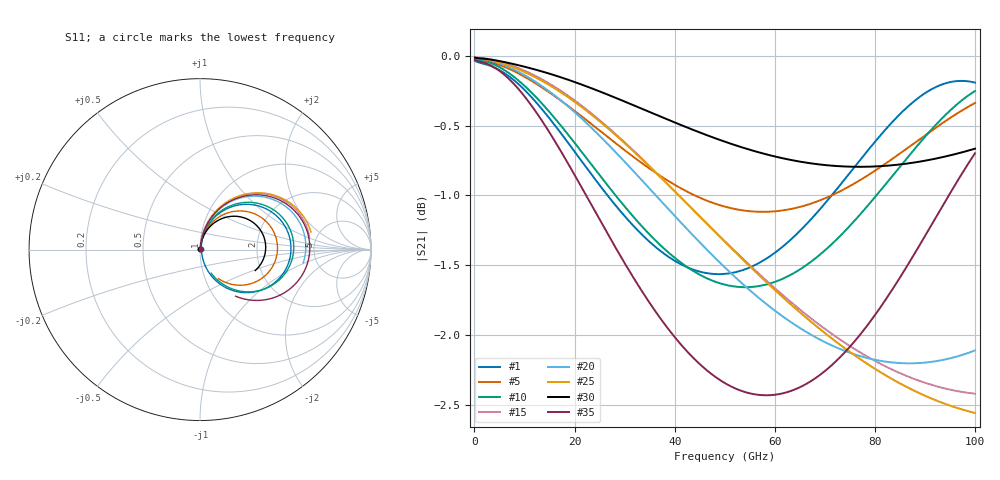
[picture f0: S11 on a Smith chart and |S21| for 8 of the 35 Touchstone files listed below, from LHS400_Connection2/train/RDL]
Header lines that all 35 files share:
! Touchstone file exported from HFSS 2026.1.0
!  Design:  RDL
! Variables:
! Terminal data exported
# GHz S MA R 50.000000
Fixed: h_bsmrdl = 2um, h_ox = 20um, h_rdl = 5um, h_sub = 80um, h_tsv = 80um, h_via = 3um, l_bsmrdl = 300um, m_sub = 200um, r_tsv = 6um, s_tmrdl = 10um, w_bsmrdl = 18um, w_sub = 500um
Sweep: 100 MHz to 100 GHz
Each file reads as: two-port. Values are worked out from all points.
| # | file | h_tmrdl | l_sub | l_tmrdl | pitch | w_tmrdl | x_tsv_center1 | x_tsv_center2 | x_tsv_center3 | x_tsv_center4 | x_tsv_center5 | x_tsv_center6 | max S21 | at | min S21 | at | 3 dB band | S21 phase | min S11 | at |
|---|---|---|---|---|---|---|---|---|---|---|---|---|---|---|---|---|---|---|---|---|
| 1 | dut0.s2p | 2.07um | 984.84um | 584.84um | 51.38um | 26.71um | 598.195um | 916.195um | 1527.745um | 1845.745um | 2457.295um | 2775.295um | -0.04 dB | 100 MHz | -1.6 dB | 48.8 GHz | 100 MHz-100 GHz | -89 deg at 50.1 GHz | -46.4 dB | 100 MHz |
| 2 | dut1.s2p | 4.58um | 720.53um | 320.53um | 57.19um | 22.36um | 331.71um | 649.71um | 992.6um | 1310.6um | 1653.49um | 1971.49um | -0.01 dB | 100 MHz | -2.0 dB | 83.6 GHz | 100 MHz-100 GHz | -57 deg at 50.1 GHz | -53.9 dB | 100 MHz |
| 3 | dut2.s2p | 2.58um | 836.06um | 436.06um | 50.99um | 23.01um | 447.565um | 765.565um | 1224.635um | 1542.635um | 2001.705um | 2319.705um | -0.02 dB | 100 MHz | -1.8 dB | 64.4 GHz | 100 MHz-100 GHz | -71 deg at 50.1 GHz | -49.2 dB | 100 MHz |
| 4 | dut3.s2p | 2.61um | 1005.43um | 605.43um | 55.68um | 21.99um | 616.425um | 934.425um | 1561.845um | 1879.845um | 2507.265um | 2825.265um | -0.03 dB | 100 MHz | -2.2 dB | 47.2 GHz | 100 MHz-100 GHz | -92 deg at 50.1 GHz | -46.2 dB | 100 MHz |
| 5 | dut4.s2p | 3.14um | 905.96um | 505.96um | 43.36um | 24.64um | 518.28um | 836.28um | 1366.88um | 1684.88um | 2215.48um | 2533.48um | -0.02 dB | 100 MHz | -1.1 dB | 57.6 GHz | 100 MHz-100 GHz | -77 deg at 50.1 GHz | -50.2 dB | 100 MHz |
| 6 | dut5.s2p | 4.43um | 868.63um | 468.63um | 43.83um | 26.78um | 482.02um | 800.02um | 1295.43um | 1613.43um | 2108.84um | 2426.84um | -0.01 dB | 100 MHz | -0.8 dB | 62.9 GHz | 100 MHz-100 GHz | -71 deg at 50.1 GHz | -53.5 dB | 100 MHz |
| 7 | dut6.s2p | 3.63um | 981.59um | 581.59um | 56.08um | 28.32um | 595.75um | 913.75um | 1523.66um | 1841.66um | 2451.57um | 2769.57um | -0.02 dB | 100 MHz | -1.4 dB | 49.3 GHz | 100 MHz-100 GHz | -88 deg at 50.1 GHz | -49.9 dB | 100 MHz |
| 8 | dut8.s2p | 2.39um | 840.92um | 440.92um | 54.97um | 15.49um | 448.665um | 766.665um | 1223.075um | 1541.075um | 1997.485um | 2315.485um | -0.04 dB | 100 MHz | -3.0 dB | 63.4 GHz | 100 MHz-100 GHz | -74 deg at 50.1 GHz | -45.8 dB | 100 MHz |
| 9 | dut9.s2p | 2.03um | 857.28um | 457.28um | 51.48um | 11.74um | 463.15um | 781.15um | 1250.17um | 1568.17um | 2037.19um | 2355.19um | -0.06 dB | 100 MHz | -3.5 dB | 61.9 GHz | 100 MHz-44.1 GHz | -76 deg at 50.1 GHz | -42.5 dB | 100 MHz |
| 10 | dut12.s2p | 2.88um | 915.81um | 515.81um | 57.71um | 27.74um | 529.68um | 847.68um | 1391.23um | 1709.23um | 2252.78um | 2570.78um | -0.02 dB | 100 MHz | -1.7 dB | 54.1 GHz | 100 MHz-100 GHz | -81 deg at 50.1 GHz | -49.4 dB | 100 MHz |
| 11 | dut14.s2p | 4.11um | 991.37um | 591.37um | 43.29um | 11.77um | 597.255um | 915.255um | 1518.395um | 1836.395um | 2439.535um | 2757.535um | -0.04 dB | 100 MHz | -2.8 dB | 50.9 GHz | 100 MHz-100 GHz | -87 deg at 50.1 GHz | -45.4 dB | 100 MHz |
| 12 | dut15.s2p | 3.41um | 1077.58um | 677.58um | 58.51um | 23.21um | 689.185um | 1007.185um | 1707.975um | 2025.975um | 2726.765um | 3044.765um | -0.03 dB | 100 MHz | -2.1 dB | 42.8 GHz | 100 MHz-100 GHz | -100 deg at 50.1 GHz | -46.9 dB | 100 MHz |
| 13 | dut16.s2p | 4.74um | 1020.62um | 620.62um | 42.12um | 22.25um | 631.745um | 949.745um | 1592.615um | 1910.615um | 2553.485um | 2871.485um | -0.02 dB | 100 MHz | -1.2 dB | 48.7 GHz | 100 MHz-100 GHz | -90 deg at 50.1 GHz | -50.3 dB | 100 MHz |
| 14 | dut17.s2p | 3.88um | 863.71um | 463.71um | 47.84um | 16.13um | 471.775um | 789.775um | 1269.615um | 1587.615um | 2067.455um | 2385.455um | -0.02 dB | 100 MHz | -2.3 dB | 62.6 GHz | 100 MHz-100 GHz | -74 deg at 50.1 GHz | -48.9 dB | 100 MHz |
| 15 | dut18.s2p | 4.64um | 646.32um | 246.32um | 56.75um | 18.45um | 255.545um | 573.545um | 838.315um | 1156.315um | 1421.085um | 1739.085um | -0.01 dB | 100 MHz | -2.4 dB | 100 GHz | 100 MHz-100 GHz | -49 deg at 50.1 GHz | -54.8 dB | 100 MHz |
| 16 | dut19.s2p | 2.67um | 860.11um | 460.11um | 55.91um | 11.29um | 465.755um | 783.755um | 1255.155um | 1573.155um | 2044.555um | 2362.555um | -0.05 dB | 100 MHz | -3.8 dB | 62.2 GHz | 100 MHz-40.5 GHz | -77 deg at 50.1 GHz | -44.0 dB | 100 MHz |
| 17 | dut20.s2p | 4.93um | 746.02um | 346.02um | 52.65um | 24.56um | 358.3um | 676.3um | 1046.88um | 1364.88um | 1735.46um | 2053.46um | -0.01 dB | 100 MHz | -1.5 dB | 79.8 GHz | 100 MHz-100 GHz | -58 deg at 50.1 GHz | -54.6 dB | 100 MHz |
| 18 | dut21.s2p | 3.51um | 722.73um | 322.73um | 55.09um | 20.72um | 333.09um | 651.09um | 994.54um | 1312.54um | 1655.99um | 1973.99um | -0.02 dB | 100 MHz | -2.2 dB | 82.8 GHz | 100 MHz-100 GHz | -58 deg at 50.1 GHz | -52.3 dB | 100 MHz |
| 19 | dut22.s2p | 2.05um | 1084.61um | 684.61um | 52.06um | 28.79um | 699.005um | 1017.005um | 1730.405um | 2048.405um | 2761.805um | 3079.805um | -0.04 dB | 100 MHz | -1.4 dB | 42.2 GHz | 100 MHz-100 GHz | -102 deg at 50.1 GHz | -45.7 dB | 100 MHz |
| 20 | dut23.s2p | 3.76um | 716.58um | 316.58um | 48.55um | 17.66um | 325.41um | 643.41um | 977.65um | 1295.65um | 1629.89um | 1947.89um | -0.02 dB | 100 MHz | -2.2 dB | 86.9 GHz | 100 MHz-100 GHz | -57 deg at 50.1 GHz | -52.2 dB | 100 MHz |
| 21 | dut24.s2p | 2.34um | 853.92um | 453.92um | 55.3um | 17.19um | 462.515um | 780.515um | 1251.625um | 1569.625um | 2040.735um | 2358.735um | -0.04 dB | 100 MHz | -2.8 dB | 61.3 GHz | 100 MHz-100 GHz | -75 deg at 50.1 GHz | -46.2 dB | 100 MHz |
| 22 | dut25.s2p | 3.58um | 826.66um | 426.66um | 48.84um | 23.28um | 438.3um | 756.3um | 1206.24um | 1524.24um | 1974.18um | 2292.18um | -0.02 dB | 100 MHz | -1.5 dB | 66.5 GHz | 100 MHz-100 GHz | -69 deg at 50.1 GHz | -51.5 dB | 100 MHz |
| 23 | dut26.s2p | 4.32um | 783.86um | 383.86um | 51.13um | 27.81um | 397.765um | 715.765um | 1127.435um | 1445.435um | 1857.105um | 2175.105um | -0.01 dB | 100 MHz | -1.2 dB | 72.8 GHz | 100 MHz-100 GHz | -62 deg at 50.1 GHz | -54.3 dB | 100 MHz |
| 24 | dut27.s2p | 3.2um | 1047.6um | 647.6um | 40.1um | 22.77um | 658.985um | 976.985um | 1647.355um | 1965.355um | 2635.725um | 2953.725um | -0.03 dB | 100 MHz | -1.2 dB | 46.4 GHz | 100 MHz-100 GHz | -94 deg at 50.1 GHz | -48.0 dB | 100 MHz |
| 25 | dut28.s2p | 4.01um | 649.2um | 249.2um | 40.58um | 11.61um | 255.005um | 573.005um | 833.815um | 1151.815um | 1412.625um | 1730.625um | -0.02 dB | 100 MHz | -2.6 dB | 100 GHz | 100 MHz-100 GHz | -47 deg at 50.1 GHz | -52.3 dB | 100 MHz |
| 26 | dut29.s2p | 4.41um | 645.39um | 245.39um | 57.01um | 14.47um | 252.625um | 570.625um | 830.485um | 1148.485um | 1408.345um | 1726.345um | -0.01 dB | 100 MHz | -3.0 dB | 100 GHz | 100 MHz-100 GHz | -50 deg at 50.1 GHz | -53.3 dB | 100 MHz |
| 27 | dut30.s2p | 4.77um | 940.59um | 540.59um | 53.71um | 10.83um | 546.005um | 864.005um | 1415.425um | 1733.425um | 2284.845um | 2602.845um | -0.03 dB | 100 MHz | -3.4 dB | 55.1 GHz | 100 MHz-41.6 GHz | -83 deg at 50.1 GHz | -46.1 dB | 100 MHz |
| 28 | dut31.s2p | 2.32um | 876.04um | 476.04um | 50.22um | 28.18um | 490.13um | 808.13um | 1312.35um | 1630.35um | 2134.57um | 2452.57um | -0.03 dB | 100 MHz | -1.3 dB | 59 GHz | 100 MHz-100 GHz | -75 deg at 50.1 GHz | -49.3 dB | 100 MHz |
| 29 | dut32.s2p | 3.4um | 835.2um | 435.2um | 45.39um | 25.02um | 447.71um | 765.71um | 1225.93um | 1543.93um | 2004.15um | 2322.15um | -0.02 dB | 100 MHz | -1.2 dB | 65.7 GHz | 100 MHz-100 GHz | -69 deg at 50.1 GHz | -51.8 dB | 100 MHz |
| 30 | dut33.s2p | 3.7um | 764.12um | 364.12um | 47.36um | 29.91um | 379.075um | 697.075um | 1091.105um | 1409.105um | 1803.135um | 2121.135um | -0.01 dB | 100 MHz | -0.8 dB | 76.9 GHz | 100 MHz-100 GHz | -58 deg at 50.1 GHz | -54.8 dB | 100 MHz |
| 31 | dut34.s2p | 2.84um | 658.59um | 258.59um | 42.81um | 12.83um | 265.005um | 583.005um | 854.425um | 1172.425um | 1443.845um | 1761.845um | -0.02 dB | 100 MHz | -2.7 dB | 100 GHz | 100 MHz-100 GHz | -50 deg at 50.1 GHz | -50.2 dB | 100 MHz |
| 32 | dut35.s2p | 2.56um | 757.63um | 357.63um | 50.03um | 19.05um | 367.155um | 685.155um | 1061.835um | 1379.835um | 1756.515um | 2074.515um | -0.02 dB | 100 MHz | -2.3 dB | 76.3 GHz | 100 MHz-100 GHz | -63 deg at 50.1 GHz | -49.4 dB | 100 MHz |
| 33 | dut36.s2p | 4.22um | 708.23um | 308.23um | 41.66um | 19.73um | 318.095um | 636.095um | 964.055um | 1282.055um | 1610.015um | 1928.015um | -0.01 dB | 100 MHz | -1.5 dB | 91.5 GHz | 100 MHz-100 GHz | -52 deg at 50.1 GHz | -54.3 dB | 100 MHz |
| 34 | dut37.s2p | 2.2um | 1023.02um | 623.02um | 52.03um | 12.72um | 629.38um | 947.38um | 1583.12um | 1901.12um | 2536.86um | 2854.86um | -0.07 dB | 100 MHz | -3.3 dB | 46.9 GHz | 57.4 GHz-100 GHz | -92 deg at 50.1 GHz | -41.1 dB | 100 MHz |
| 35 | dut39.s2p | 2.83um | 888.06um | 488.06um | 51.26um | 17.86um | 496.99um | 814.99um | 1320.91um | 1638.91um | 2144.83um | 2462.83um | -0.03 dB | 100 MHz | -2.4 dB | 58.3 GHz | 100 MHz-100 GHz | -78 deg at 50.1 GHz | -47.2 dB | 100 MHz |
